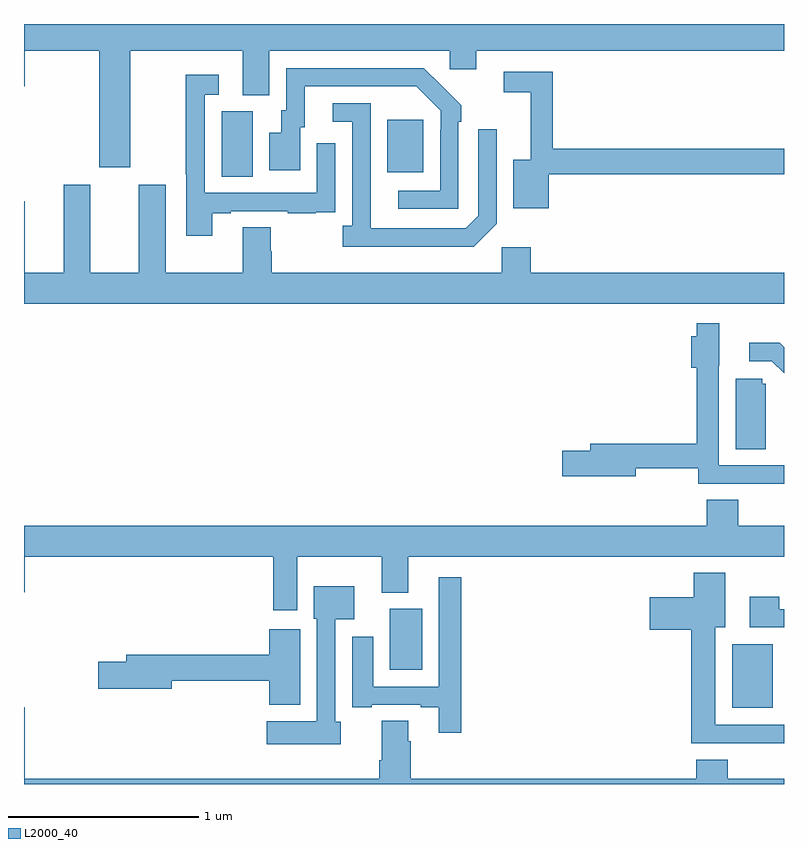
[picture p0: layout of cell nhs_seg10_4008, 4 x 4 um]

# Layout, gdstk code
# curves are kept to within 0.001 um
import gdstk
lib = gdstk.Library(unit=1e-6, precision=1e-09)
def R(c, l, rs):  # rectangles x0, y0, x1, y1
    for r in rs: c.add(gdstk.rectangle(r[:2], r[2:], *l))
def P(c, l, *ps):  # polygons
    for p in ps: c.add(gdstk.Polygon(p, *l))
L2000_40 = (2000, 40)

nhs_seg10_4008 = lib.new_cell('nhs_seg10_4008')
R(nhs_seg10_4008, L2000_40, [(336.728,1252.901,336.94,1253.236), (334.925,1253.102,335.095,1253.422), (334.04,1255.696,334.204,1256.04), (334.913,1255.721,335.101,1255.996)])
P(nhs_seg10_4008, L2000_40, [(333.559,1256.36),(334.151,1256.36),(334.151,1256.125),(334.291,1256.125),(334.291,1256.36),(335.241,1256.36),(335.241,1256.262),(335.38,1256.262),(335.38,1256.36),(337,1256.36),(337,1256.5),(333,1256.5),(333,1256.172),(333.004,1256.172),(333.004,1256.36),(333.395,1256.36),(333.395,1255.746),(333.559,1255.746)],
  [(335.286,1255.985),(335.301,1255.985),(335.301,1256.073),(335.104,1256.268),(334.38,1256.268),(334.38,1256.046),(334.355,1256.046),(334.355,1255.927),(334.292,1255.927),(334.292,1255.731),(334.453,1255.731),(334.453,1255.956),(334.477,1255.956),(334.477,1256.172),(335.065,1256.172),(335.193,1256.043),(335.193,1255.943),(335.19,1255.943),(335.19,1255.623),(334.971,1255.623),(334.971,1255.527),(335.286,1255.527)],
  [(335.763,1255.708),(337,1255.708),(337,1255.844),(335.783,1255.844),(335.783,1256.25),(335.526,1256.25),(335.526,1256.142),(335.666,1256.142),(335.666,1255.786),(335.576,1255.786),(335.576,1255.529),(335.763,1255.529)],
  [(333.991,1255.503),(334.087,1255.503),(334.087,1255.515),(334.387,1255.515),(334.387,1255.503),(334.535,1255.503),(334.535,1255.509),(334.637,1255.509),(334.637,1255.618),(334.638,1255.618),(334.638,1255.873),(334.542,1255.873),(334.542,1255.611),(333.951,1255.611),(333.951,1256.127),(334.024,1256.127),(334.024,1256.233),(333.85,1256.233),(333.85,1255.708),(333.855,1255.708),(333.855,1255.386),(333.991,1255.386)],
  [(335.487,1255.449),(335.487,1255.945),(335.391,1255.945),(335.391,1255.491),(335.325,1255.425),(334.825,1255.425),(334.824,1256.082),(334.626,1256.082),(334.626,1255.986),(334.728,1255.986),(334.728,1255.438),(334.677,1255.438),(334.677,1255.328),(335.366,1255.328)],
  [(337,1255.192),(335.666,1255.192),(335.666,1255.324),(335.514,1255.324),(335.514,1255.192),(334.304,1255.192),(334.304,1255.305),(334.299,1255.305),(334.299,1255.43),(334.151,1255.43),(334.151,1255.192),(333.745,1255.192),(333.745,1255.654),(333.605,1255.654),(333.605,1255.192),(333.349,1255.192),(333.349,1255.654),(333.209,1255.654),(333.209,1255.192),(333.004,1255.192),(333.004,1255.567),(333,1255.567),(333,1255.028),(337,1255.028)],
  [(337,1254.177),(336.657,1254.177),(336.657,1254.702),(336.658,1254.702),(336.658,1254.925),(336.541,1254.925),(336.541,1254.856),(336.512,1254.856),(336.512,1254.691),(336.541,1254.691),(336.541,1254.29),(335.981,1254.29),(335.981,1254.254),(335.832,1254.254),(335.832,1254.119),(336.22,1254.119),(336.22,1254.162),(336.549,1254.162),(336.549,1254.081),(336.841,1254.081),(336.841,1254.079),(337,1254.079)],
  [(337,1254.8),(336.977,1254.823),(336.816,1254.823),(336.816,1254.726),(336.936,1254.726),(337,1254.662)],
  [(336.904,1254.606),(336.885,1254.606),(336.885,1254.633),(336.746,1254.633),(336.746,1254.262),(336.904,1254.262)],
  [(334.438,1253.696),(334.883,1253.696),(334.883,1253.507),(335.023,1253.507),(335.023,1253.696),(337,1253.696),(337,1253.86),(336.758,1253.86),(336.758,1253.996),(336.593,1253.996),(336.593,1253.86),(333,1253.86),(333,1253.508),(333.004,1253.508),(333.004,1253.696),(334.313,1253.696),(334.313,1253.415),(334.438,1253.415)],
  [(337,1252.812),(336.637,1252.812),(336.637,1253.324),(336.691,1253.324),(336.691,1253.611),(336.524,1253.611),(336.524,1253.482),(336.294,1253.482),(336.294,1253.312),(336.512,1253.312),(336.512,1252.715),(337,1252.715)],
  [(335.3,1253.587),(335.184,1253.587),(335.184,1253.013),(334.837,1253.013),(334.837,1253.275),(334.727,1253.275),(334.727,1252.905),(334.831,1252.905),(334.831,1252.917),(335.087,1252.917),(335.087,1252.905),(335.183,1252.905),(335.183,1252.77),(335.3,1252.77)],
  [(334.666,1252.827),(334.638,1252.827),(334.638,1253.366),(334.738,1253.366),(334.738,1253.542),(334.526,1253.542),(334.526,1253.37),(334.542,1253.37),(334.542,1252.831),(334.278,1252.831),(334.278,1252.709),(334.666,1252.709)],
  [(337,1253.421),(336.975,1253.421),(336.975,1253.485),(336.819,1253.485),(336.819,1253.325),(337,1253.325)],
  [(334.453,1253.314),(334.292,1253.314),(334.292,1253.18),(333.539,1253.18),(333.539,1253.144),(333.39,1253.144),(333.39,1253.002),(333.778,1253.002),(333.778,1253.044),(334.292,1253.044),(334.292,1252.916),(334.453,1252.916)],
  [(337,1252.528),(336.704,1252.528),(336.704,1252.627),(336.539,1252.627),(336.539,1252.528),(335.036,1252.528),(335.036,1252.724),(335.023,1252.724),(335.023,1252.832),(334.883,1252.832),(334.883,1252.624),(334.871,1252.624),(334.871,1252.528),(333.004,1252.528),(333.004,1252.903),(333,1252.903),(333,1252.5),(337,1252.5)])

lib.write_gds('nhs_seg10_4008.gds')
